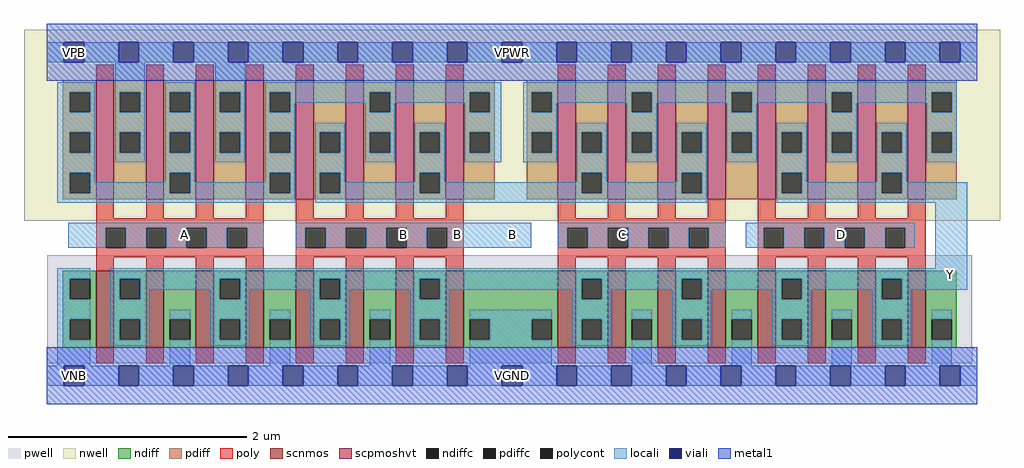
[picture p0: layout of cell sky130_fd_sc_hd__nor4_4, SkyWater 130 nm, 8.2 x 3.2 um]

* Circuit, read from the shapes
.subckt sky130_fd_sc_hd__nor4_4 A B C D VGND VNB VPB VPWR Y
XM1 Y A VGND VNB sky130_fd_pr__nfet_01v8 w=0.65 l=0.15 m=4
XM2 Y B VGND VNB sky130_fd_pr__nfet_01v8 w=0.65 l=0.15 m=4
XM3 Y C VGND VNB sky130_fd_pr__nfet_01v8 w=0.65 l=0.15 m=4
XM4 Y D VGND VNB sky130_fd_pr__nfet_01v8 w=0.65 l=0.15 m=4
XM5 VPWR A n1 VPB sky130_fd_pr__pfet_01v8_hvt w=1 l=0.15 m=4
XM6 n2 B n1 VPB sky130_fd_pr__pfet_01v8_hvt w=1 l=0.15 m=4
XM7 n2 C n3 VPB sky130_fd_pr__pfet_01v8_hvt w=1 l=0.15 m=4
XM8 Y D n3 VPB sky130_fd_pr__pfet_01v8_hvt w=1 l=0.15 m=4
.ends

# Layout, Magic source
magic
tech sky130A
magscale 1 2
<< nwell >>
rect -38 261 1602 582
<< pwell >>
rect 1 21 1555 203
rect 30 -17 64 21
<< scnmos >>
rect 83 47 113 177
rect 167 47 197 177
rect 251 47 281 177
rect 335 47 365 177
rect 419 47 449 177
rect 503 47 533 177
rect 587 47 617 177
rect 671 47 701 177
rect 859 47 889 177
rect 943 47 973 177
rect 1027 47 1057 177
rect 1111 47 1141 177
rect 1195 47 1225 177
rect 1279 47 1309 177
rect 1363 47 1393 177
rect 1447 47 1477 177
<< scpmoshvt >>
rect 83 297 113 497
rect 167 297 197 497
rect 251 297 281 497
rect 335 297 365 497
rect 419 297 449 497
rect 503 297 533 497
rect 587 297 617 497
rect 671 297 701 497
rect 859 297 889 497
rect 943 297 973 497
rect 1027 297 1057 497
rect 1111 297 1141 497
rect 1195 297 1225 497
rect 1279 297 1309 497
rect 1363 297 1393 497
rect 1447 297 1477 497
<< ndiff >>
rect 27 163 83 177
rect 27 129 39 163
rect 73 129 83 163
rect 27 95 83 129
rect 27 61 39 95
rect 73 61 83 95
rect 27 47 83 61
rect 113 163 167 177
rect 113 129 123 163
rect 157 129 167 163
rect 113 95 167 129
rect 113 61 123 95
rect 157 61 167 95
rect 113 47 167 61
rect 197 95 251 177
rect 197 61 207 95
rect 241 61 251 95
rect 197 47 251 61
rect 281 163 335 177
rect 281 129 291 163
rect 325 129 335 163
rect 281 95 335 129
rect 281 61 291 95
rect 325 61 335 95
rect 281 47 335 61
rect 365 95 419 177
rect 365 61 375 95
rect 409 61 419 95
rect 365 47 419 61
rect 449 163 503 177
rect 449 129 459 163
rect 493 129 503 163
rect 449 95 503 129
rect 449 61 459 95
rect 493 61 503 95
rect 449 47 503 61
rect 533 95 587 177
rect 533 61 543 95
rect 577 61 587 95
rect 533 47 587 61
rect 617 163 671 177
rect 617 129 627 163
rect 661 129 671 163
rect 617 95 671 129
rect 617 61 627 95
rect 661 61 671 95
rect 617 47 671 61
rect 701 95 859 177
rect 701 61 711 95
rect 745 61 815 95
rect 849 61 859 95
rect 701 47 859 61
rect 889 163 943 177
rect 889 129 899 163
rect 933 129 943 163
rect 889 95 943 129
rect 889 61 899 95
rect 933 61 943 95
rect 889 47 943 61
rect 973 95 1027 177
rect 973 61 983 95
rect 1017 61 1027 95
rect 973 47 1027 61
rect 1057 163 1111 177
rect 1057 129 1067 163
rect 1101 129 1111 163
rect 1057 95 1111 129
rect 1057 61 1067 95
rect 1101 61 1111 95
rect 1057 47 1111 61
rect 1141 95 1195 177
rect 1141 61 1151 95
rect 1185 61 1195 95
rect 1141 47 1195 61
rect 1225 163 1279 177
rect 1225 129 1235 163
rect 1269 129 1279 163
rect 1225 95 1279 129
rect 1225 61 1235 95
rect 1269 61 1279 95
rect 1225 47 1279 61
rect 1309 95 1363 177
rect 1309 61 1319 95
rect 1353 61 1363 95
rect 1309 47 1363 61
rect 1393 163 1447 177
rect 1393 129 1403 163
rect 1437 129 1447 163
rect 1393 95 1447 129
rect 1393 61 1403 95
rect 1437 61 1447 95
rect 1393 47 1447 61
rect 1477 95 1529 177
rect 1477 61 1487 95
rect 1521 61 1529 95
rect 1477 47 1529 61
<< pdiff >>
rect 27 477 83 497
rect 27 443 39 477
rect 73 443 83 477
rect 27 409 83 443
rect 27 375 39 409
rect 73 375 83 409
rect 27 341 83 375
rect 27 307 39 341
rect 73 307 83 341
rect 27 297 83 307
rect 113 477 167 497
rect 113 443 123 477
rect 157 443 167 477
rect 113 409 167 443
rect 113 375 123 409
rect 157 375 167 409
rect 113 297 167 375
rect 197 477 251 497
rect 197 443 207 477
rect 241 443 251 477
rect 197 409 251 443
rect 197 375 207 409
rect 241 375 251 409
rect 197 341 251 375
rect 197 307 207 341
rect 241 307 251 341
rect 197 297 251 307
rect 281 477 335 497
rect 281 443 291 477
rect 325 443 335 477
rect 281 409 335 443
rect 281 375 291 409
rect 325 375 335 409
rect 281 297 335 375
rect 365 477 419 497
rect 365 443 375 477
rect 409 443 419 477
rect 365 409 419 443
rect 365 375 375 409
rect 409 375 419 409
rect 365 341 419 375
rect 365 307 375 341
rect 409 307 419 341
rect 365 297 419 307
rect 449 409 503 497
rect 449 375 459 409
rect 493 375 503 409
rect 449 341 503 375
rect 449 307 459 341
rect 493 307 503 341
rect 449 297 503 307
rect 533 477 587 497
rect 533 443 543 477
rect 577 443 587 477
rect 533 409 587 443
rect 533 375 543 409
rect 577 375 587 409
rect 533 297 587 375
rect 617 409 671 497
rect 617 375 627 409
rect 661 375 671 409
rect 617 341 671 375
rect 617 307 627 341
rect 661 307 671 341
rect 617 297 671 307
rect 701 477 753 497
rect 701 443 711 477
rect 745 443 753 477
rect 701 409 753 443
rect 701 375 711 409
rect 745 375 753 409
rect 701 297 753 375
rect 807 477 859 497
rect 807 443 815 477
rect 849 443 859 477
rect 807 409 859 443
rect 807 375 815 409
rect 849 375 859 409
rect 807 297 859 375
rect 889 409 943 497
rect 889 375 899 409
rect 933 375 943 409
rect 889 341 943 375
rect 889 307 899 341
rect 933 307 943 341
rect 889 297 943 307
rect 973 477 1027 497
rect 973 443 983 477
rect 1017 443 1027 477
rect 973 409 1027 443
rect 973 375 983 409
rect 1017 375 1027 409
rect 973 297 1027 375
rect 1057 409 1111 497
rect 1057 375 1067 409
rect 1101 375 1111 409
rect 1057 341 1111 375
rect 1057 307 1067 341
rect 1101 307 1111 341
rect 1057 297 1111 307
rect 1141 477 1195 497
rect 1141 443 1151 477
rect 1185 443 1195 477
rect 1141 409 1195 443
rect 1141 375 1151 409
rect 1185 375 1195 409
rect 1141 297 1195 375
rect 1225 409 1279 497
rect 1225 375 1235 409
rect 1269 375 1279 409
rect 1225 341 1279 375
rect 1225 307 1235 341
rect 1269 307 1279 341
rect 1225 297 1279 307
rect 1309 477 1363 497
rect 1309 443 1319 477
rect 1353 443 1363 477
rect 1309 409 1363 443
rect 1309 375 1319 409
rect 1353 375 1363 409
rect 1309 297 1363 375
rect 1393 409 1447 497
rect 1393 375 1403 409
rect 1437 375 1447 409
rect 1393 341 1447 375
rect 1393 307 1403 341
rect 1437 307 1447 341
rect 1393 297 1447 307
rect 1477 477 1529 497
rect 1477 443 1487 477
rect 1521 443 1529 477
rect 1477 409 1529 443
rect 1477 375 1487 409
rect 1521 375 1529 409
rect 1477 297 1529 375
<< ndiffc >>
rect 39 129 73 163
rect 39 61 73 95
rect 123 129 157 163
rect 123 61 157 95
rect 207 61 241 95
rect 291 129 325 163
rect 291 61 325 95
rect 375 61 409 95
rect 459 129 493 163
rect 459 61 493 95
rect 543 61 577 95
rect 627 129 661 163
rect 627 61 661 95
rect 711 61 745 95
rect 815 61 849 95
rect 899 129 933 163
rect 899 61 933 95
rect 983 61 1017 95
rect 1067 129 1101 163
rect 1067 61 1101 95
rect 1151 61 1185 95
rect 1235 129 1269 163
rect 1235 61 1269 95
rect 1319 61 1353 95
rect 1403 129 1437 163
rect 1403 61 1437 95
rect 1487 61 1521 95
<< pdiffc >>
rect 39 443 73 477
rect 39 375 73 409
rect 39 307 73 341
rect 123 443 157 477
rect 123 375 157 409
rect 207 443 241 477
rect 207 375 241 409
rect 207 307 241 341
rect 291 443 325 477
rect 291 375 325 409
rect 375 443 409 477
rect 375 375 409 409
rect 375 307 409 341
rect 459 375 493 409
rect 459 307 493 341
rect 543 443 577 477
rect 543 375 577 409
rect 627 375 661 409
rect 627 307 661 341
rect 711 443 745 477
rect 711 375 745 409
rect 815 443 849 477
rect 815 375 849 409
rect 899 375 933 409
rect 899 307 933 341
rect 983 443 1017 477
rect 983 375 1017 409
rect 1067 375 1101 409
rect 1067 307 1101 341
rect 1151 443 1185 477
rect 1151 375 1185 409
rect 1235 375 1269 409
rect 1235 307 1269 341
rect 1319 443 1353 477
rect 1319 375 1353 409
rect 1403 375 1437 409
rect 1403 307 1437 341
rect 1487 443 1521 477
rect 1487 375 1521 409
<< poly >>
rect 83 497 113 523
rect 167 497 197 523
rect 251 497 281 523
rect 335 497 365 523
rect 419 497 449 523
rect 503 497 533 523
rect 587 497 617 523
rect 671 497 701 523
rect 859 497 889 523
rect 943 497 973 523
rect 1027 497 1057 523
rect 1111 497 1141 523
rect 1195 497 1225 523
rect 1279 497 1309 523
rect 1363 497 1393 523
rect 1447 497 1477 523
rect 83 265 113 297
rect 167 265 197 297
rect 251 265 281 297
rect 335 265 365 297
rect 83 249 365 265
rect 83 215 99 249
rect 133 215 167 249
rect 201 215 235 249
rect 269 215 303 249
rect 337 215 365 249
rect 83 199 365 215
rect 83 177 113 199
rect 167 177 197 199
rect 251 177 281 199
rect 335 177 365 199
rect 419 265 449 297
rect 503 265 533 297
rect 587 265 617 297
rect 671 265 701 297
rect 419 249 701 265
rect 419 215 435 249
rect 469 215 503 249
rect 537 215 571 249
rect 605 215 639 249
rect 673 215 701 249
rect 419 199 701 215
rect 419 177 449 199
rect 503 177 533 199
rect 587 177 617 199
rect 671 177 701 199
rect 859 265 889 297
rect 943 265 973 297
rect 1027 265 1057 297
rect 1111 265 1141 297
rect 859 249 1141 265
rect 859 215 875 249
rect 909 215 943 249
rect 977 215 1011 249
rect 1045 215 1079 249
rect 1113 215 1141 249
rect 859 199 1141 215
rect 859 177 889 199
rect 943 177 973 199
rect 1027 177 1057 199
rect 1111 177 1141 199
rect 1195 265 1225 297
rect 1279 265 1309 297
rect 1363 265 1393 297
rect 1447 265 1477 297
rect 1195 249 1477 265
rect 1195 215 1205 249
rect 1239 215 1273 249
rect 1307 215 1341 249
rect 1375 215 1409 249
rect 1443 215 1477 249
rect 1195 199 1477 215
rect 1195 177 1225 199
rect 1279 177 1309 199
rect 1363 177 1393 199
rect 1447 177 1477 199
rect 83 21 113 47
rect 167 21 197 47
rect 251 21 281 47
rect 335 21 365 47
rect 419 21 449 47
rect 503 21 533 47
rect 587 21 617 47
rect 671 21 701 47
rect 859 21 889 47
rect 943 21 973 47
rect 1027 21 1057 47
rect 1111 21 1141 47
rect 1195 21 1225 47
rect 1279 21 1309 47
rect 1363 21 1393 47
rect 1447 21 1477 47
<< polycont >>
rect 99 215 133 249
rect 167 215 201 249
rect 235 215 269 249
rect 303 215 337 249
rect 435 215 469 249
rect 503 215 537 249
rect 571 215 605 249
rect 639 215 673 249
rect 875 215 909 249
rect 943 215 977 249
rect 1011 215 1045 249
rect 1079 215 1113 249
rect 1205 215 1239 249
rect 1273 215 1307 249
rect 1341 215 1375 249
rect 1409 215 1443 249
<< locali >>
rect 0 527 29 561
rect 63 527 121 561
rect 155 527 213 561
rect 247 527 305 561
rect 339 527 397 561
rect 431 527 489 561
rect 523 527 581 561
rect 615 527 673 561
rect 707 527 765 561
rect 799 527 857 561
rect 891 527 949 561
rect 983 527 1041 561
rect 1075 527 1133 561
rect 1167 527 1225 561
rect 1259 527 1317 561
rect 1351 527 1409 561
rect 1443 527 1501 561
rect 1535 527 1564 561
rect 18 477 81 493
rect 18 443 39 477
rect 73 443 81 477
rect 18 409 81 443
rect 18 375 39 409
rect 73 375 81 409
rect 18 341 81 375
rect 115 477 165 527
rect 115 443 123 477
rect 157 443 165 477
rect 115 409 165 443
rect 115 375 123 409
rect 157 375 165 409
rect 115 359 165 375
rect 199 477 249 493
rect 199 443 207 477
rect 241 443 249 477
rect 199 409 249 443
rect 199 375 207 409
rect 241 375 249 409
rect 18 307 39 341
rect 73 325 81 341
rect 199 341 249 375
rect 283 477 333 527
rect 283 443 291 477
rect 325 443 333 477
rect 283 409 333 443
rect 283 375 291 409
rect 325 375 333 409
rect 283 359 333 375
rect 367 477 764 493
rect 367 443 375 477
rect 409 459 543 477
rect 409 443 417 459
rect 367 409 417 443
rect 535 443 543 459
rect 577 459 711 477
rect 577 443 585 459
rect 367 375 375 409
rect 409 375 417 409
rect 199 325 207 341
rect 73 307 207 325
rect 241 325 249 341
rect 367 341 417 375
rect 367 325 375 341
rect 241 307 375 325
rect 409 307 417 341
rect 18 291 417 307
rect 451 409 501 425
rect 451 375 459 409
rect 493 375 501 409
rect 451 341 501 375
rect 535 409 585 443
rect 703 443 711 459
rect 745 443 764 477
rect 535 375 543 409
rect 577 375 585 409
rect 535 359 585 375
rect 619 409 669 425
rect 619 375 627 409
rect 661 375 669 409
rect 451 307 459 341
rect 493 325 501 341
rect 619 341 669 375
rect 703 409 764 443
rect 703 375 711 409
rect 745 375 764 409
rect 703 359 764 375
rect 801 477 1529 493
rect 801 443 815 477
rect 849 459 983 477
rect 849 443 857 459
rect 801 409 857 443
rect 975 443 983 459
rect 1017 459 1151 477
rect 1017 443 1025 459
rect 801 375 815 409
rect 849 375 857 409
rect 801 359 857 375
rect 891 409 941 425
rect 891 375 899 409
rect 933 375 941 409
rect 619 325 627 341
rect 493 307 627 325
rect 661 325 669 341
rect 891 341 941 375
rect 975 409 1025 443
rect 1143 443 1151 459
rect 1185 459 1319 477
rect 1185 443 1193 459
rect 975 375 983 409
rect 1017 375 1025 409
rect 975 359 1025 375
rect 1059 409 1109 425
rect 1059 375 1067 409
rect 1101 375 1109 409
rect 891 325 899 341
rect 661 307 899 325
rect 933 325 941 341
rect 1059 341 1109 375
rect 1143 409 1193 443
rect 1311 443 1319 459
rect 1353 459 1487 477
rect 1353 443 1361 459
rect 1143 375 1151 409
rect 1185 375 1193 409
rect 1143 359 1193 375
rect 1227 409 1277 425
rect 1227 375 1235 409
rect 1269 375 1277 409
rect 1059 325 1067 341
rect 933 307 1067 325
rect 1101 307 1109 341
rect 451 291 1109 307
rect 1227 341 1277 375
rect 1311 409 1361 443
rect 1479 443 1487 459
rect 1521 443 1529 477
rect 1311 375 1319 409
rect 1353 375 1361 409
rect 1311 359 1361 375
rect 1395 409 1445 425
rect 1395 375 1403 409
rect 1437 375 1445 409
rect 1227 307 1235 341
rect 1269 325 1277 341
rect 1395 341 1445 375
rect 1479 409 1529 443
rect 1479 375 1487 409
rect 1521 375 1529 409
rect 1479 359 1529 375
rect 1395 325 1403 341
rect 1269 307 1403 325
rect 1437 325 1445 341
rect 1437 307 1547 325
rect 1227 291 1547 307
rect 36 249 365 257
rect 36 215 99 249
rect 133 215 167 249
rect 201 215 235 249
rect 269 215 303 249
rect 337 215 365 249
rect 419 249 814 257
rect 419 215 435 249
rect 469 215 503 249
rect 537 215 571 249
rect 605 215 639 249
rect 673 215 814 249
rect 859 249 1141 257
rect 859 215 875 249
rect 909 215 943 249
rect 977 215 1011 249
rect 1045 215 1079 249
rect 1113 215 1141 249
rect 1175 249 1459 257
rect 1175 215 1205 249
rect 1239 215 1273 249
rect 1307 215 1341 249
rect 1375 215 1409 249
rect 1443 215 1459 249
rect 1493 181 1547 291
rect 18 163 73 181
rect 18 129 39 163
rect 18 95 73 129
rect 18 61 39 95
rect 18 17 73 61
rect 107 163 1547 181
rect 107 129 123 163
rect 157 145 291 163
rect 157 129 173 145
rect 107 95 173 129
rect 275 129 291 145
rect 325 145 459 163
rect 325 129 341 145
rect 107 61 123 95
rect 157 61 173 95
rect 107 51 173 61
rect 207 95 241 111
rect 207 17 241 61
rect 275 95 341 129
rect 443 129 459 145
rect 493 145 627 163
rect 493 129 509 145
rect 275 61 291 95
rect 325 61 341 95
rect 275 51 341 61
rect 375 95 409 111
rect 375 17 409 61
rect 443 95 509 129
rect 611 129 627 145
rect 661 145 899 163
rect 661 129 677 145
rect 443 61 459 95
rect 493 61 509 95
rect 443 51 509 61
rect 543 95 577 111
rect 543 17 577 61
rect 611 95 677 129
rect 883 129 899 145
rect 933 145 1067 163
rect 933 129 949 145
rect 611 61 627 95
rect 661 61 677 95
rect 611 51 677 61
rect 711 95 849 111
rect 745 61 815 95
rect 711 17 849 61
rect 883 95 949 129
rect 1051 129 1067 145
rect 1101 145 1235 163
rect 1101 129 1117 145
rect 883 61 899 95
rect 933 61 949 95
rect 883 51 949 61
rect 983 95 1017 111
rect 983 17 1017 61
rect 1051 95 1117 129
rect 1219 129 1235 145
rect 1269 145 1403 163
rect 1269 129 1285 145
rect 1051 61 1067 95
rect 1101 61 1117 95
rect 1051 51 1117 61
rect 1151 95 1185 111
rect 1151 17 1185 61
rect 1219 95 1285 129
rect 1387 129 1403 145
rect 1437 145 1547 163
rect 1437 129 1453 145
rect 1219 61 1235 95
rect 1269 61 1285 95
rect 1219 51 1285 61
rect 1319 95 1353 111
rect 1319 17 1353 61
rect 1387 95 1453 129
rect 1387 61 1403 95
rect 1437 61 1453 95
rect 1387 51 1453 61
rect 1487 95 1521 111
rect 1487 17 1521 61
rect 0 -17 29 17
rect 63 -17 121 17
rect 155 -17 213 17
rect 247 -17 305 17
rect 339 -17 397 17
rect 431 -17 489 17
rect 523 -17 581 17
rect 615 -17 673 17
rect 707 -17 765 17
rect 799 -17 857 17
rect 891 -17 949 17
rect 983 -17 1041 17
rect 1075 -17 1133 17
rect 1167 -17 1225 17
rect 1259 -17 1317 17
rect 1351 -17 1409 17
rect 1443 -17 1501 17
rect 1535 -17 1564 17
<< viali >>
rect 29 527 63 561
rect 121 527 155 561
rect 213 527 247 561
rect 305 527 339 561
rect 397 527 431 561
rect 489 527 523 561
rect 581 527 615 561
rect 673 527 707 561
rect 765 527 799 561
rect 857 527 891 561
rect 949 527 983 561
rect 1041 527 1075 561
rect 1133 527 1167 561
rect 1225 527 1259 561
rect 1317 527 1351 561
rect 1409 527 1443 561
rect 1501 527 1535 561
rect 29 -17 63 17
rect 121 -17 155 17
rect 213 -17 247 17
rect 305 -17 339 17
rect 397 -17 431 17
rect 489 -17 523 17
rect 581 -17 615 17
rect 673 -17 707 17
rect 765 -17 799 17
rect 857 -17 891 17
rect 949 -17 983 17
rect 1041 -17 1075 17
rect 1133 -17 1167 17
rect 1225 -17 1259 17
rect 1317 -17 1351 17
rect 1409 -17 1443 17
rect 1501 -17 1535 17
<< metal1 >>
rect 0 561 1564 592
rect 0 527 29 561
rect 63 527 121 561
rect 155 527 213 561
rect 247 527 305 561
rect 339 527 397 561
rect 431 527 489 561
rect 523 527 581 561
rect 615 527 673 561
rect 707 527 765 561
rect 799 527 857 561
rect 891 527 949 561
rect 983 527 1041 561
rect 1075 527 1133 561
rect 1167 527 1225 561
rect 1259 527 1317 561
rect 1351 527 1409 561
rect 1443 527 1501 561
rect 1535 527 1564 561
rect 0 496 1564 527
rect 0 17 1564 48
rect 0 -17 29 17
rect 63 -17 121 17
rect 155 -17 213 17
rect 247 -17 305 17
rect 339 -17 397 17
rect 431 -17 489 17
rect 523 -17 581 17
rect 615 -17 673 17
rect 707 -17 765 17
rect 799 -17 857 17
rect 891 -17 949 17
rect 983 -17 1041 17
rect 1075 -17 1133 17
rect 1167 -17 1225 17
rect 1259 -17 1317 17
rect 1351 -17 1409 17
rect 1443 -17 1501 17
rect 1535 -17 1564 17
rect 0 -48 1564 -17
<< labels >>
flabel locali s 214 221 248 255 0 FreeSans 400 0 0 0 A
port 1 nsew signal input
flabel locali s 950 221 984 255 0 FreeSans 400 0 0 0 C
port 3 nsew signal input
flabel locali s 1502 153 1536 187 0 FreeSans 400 0 0 0 Y
port 9 nsew signal output
flabel locali s 1318 221 1352 255 0 FreeSans 400 0 0 0 D
port 4 nsew signal input
flabel locali s 674 221 708 255 0 FreeSans 400 0 0 0 B
port 2 nsew signal input
flabel locali s 766 221 800 255 0 FreeSans 400 0 0 0 B
port 2 nsew signal input
flabel locali s 582 221 616 255 0 FreeSans 400 0 0 0 B
port 2 nsew signal input
flabel nwell s 30 527 64 561 0 FreeSans 200 0 0 0 VPB
port 7 nsew power bidirectional
flabel pwell s 30 -17 64 17 0 FreeSans 200 0 0 0 VNB
port 6 nsew ground bidirectional
flabel metal1 s 30 -17 64 17 0 FreeSans 200 0 0 0 VGND
port 5 nsew ground bidirectional abutment
flabel metal1 s 30 527 64 561 0 FreeSans 200 0 0 0 VPWR
port 8 nsew power bidirectional abutment
rlabel comment s 0 0 0 0 4 nor4_4
rlabel metal1 s 0 -48 1564 48 1 VGND
port 5 nsew ground bidirectional abutment
rlabel metal1 s 0 496 1564 592 1 VPWR
port 8 nsew power bidirectional abutment
<< properties >>
string FIXED_BBOX 0 0 1564 544
string GDS_END 1148172
string GDS_FILE $PDKPATH/libs.ref/sky130_fd_sc_hd/gds/sky130_fd_sc_hd.gds
string GDS_START 1135854
string LEFclass CORE
string LEFsite unithd
string LEFsymmetry X Y R90
string path 0.000 0.000 7.820 0.000 
<< end >>
